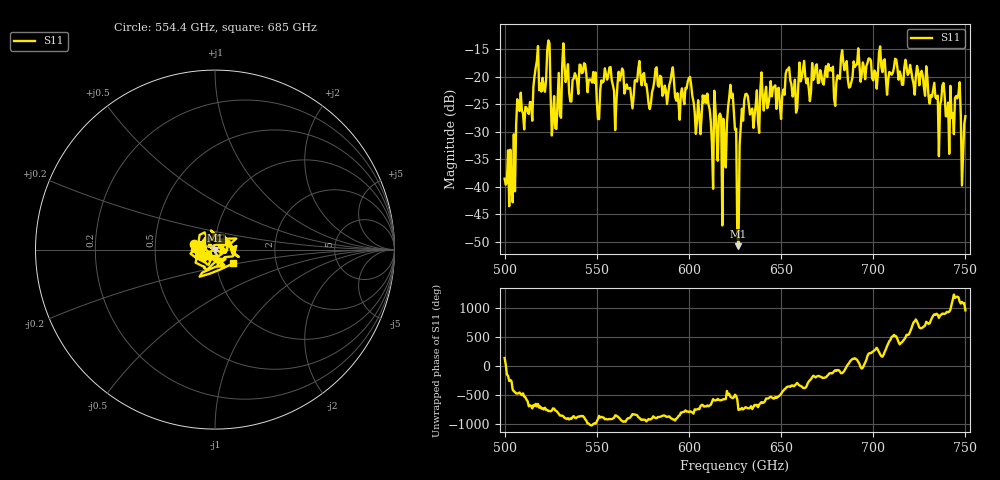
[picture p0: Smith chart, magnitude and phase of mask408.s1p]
!Created with skrf (http://scikit-rf.org).
# GHz S MA R 50.0
!freq magS11 angS11
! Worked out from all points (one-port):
!   401 points, 500 GHz to 750 GHz, reference 50 ohm
!   lowest |S11| = -50.8 dB at 626.9 GHz (marker M1), VSWR 1.01, Z = 50.2 - j0.163 ohm
!   |S11| at or under -10 dB: start of sweep to end of sweep
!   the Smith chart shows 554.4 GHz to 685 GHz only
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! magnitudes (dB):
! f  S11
! 500 GHz  -38.5
! 505 GHz  -30.5
! 507.5 GHz  -24.7
! 513.8 GHz  -24.6
! 516.9 GHz  -18.4
! 523.8 GHz  -13.4
! 526.9 GHz  -23.5
! 531.2 GHz  -18.0
! 542.5 GHz  -19.2
! 551.2 GHz  -27.7
! 562.5 GHz  -20.7
! 578.8 GHz  -25.9
! 590.6 GHz  -19.3
! 593.8 GHz  -23.0
! 608.8 GHz  -23.4
! 619.4 GHz  -31.5
! 622.5 GHz  -21.5
! 625 GHz  -29.6
! 626.9 GHz  -50.8
! 631.2 GHz  -23.1
! 656.2 GHz  -23.6
! 683.8 GHz  -17.3
! 687.5 GHz  -21.8
! 718.8 GHz  -19.7
! 742.5 GHz  -27.5
! 745.6 GHz  -24.0
! 748.8 GHz  -34.4
! 750 GHz  -27.2
